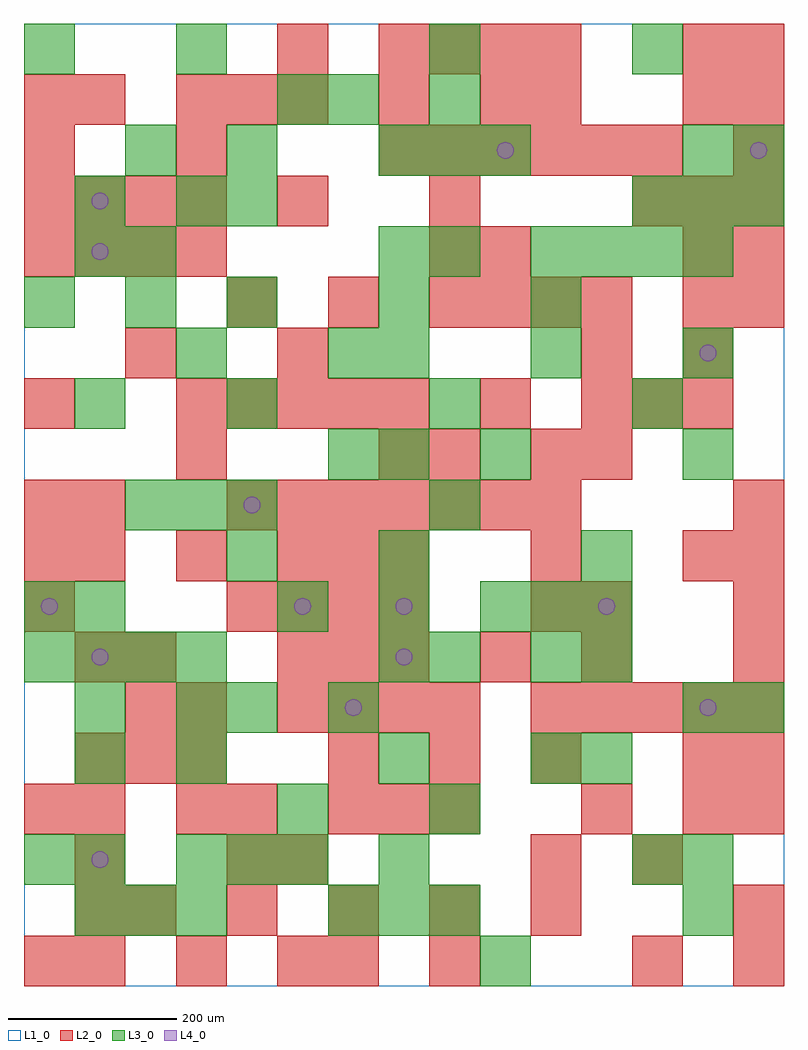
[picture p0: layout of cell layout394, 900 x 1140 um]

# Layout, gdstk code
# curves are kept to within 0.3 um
import gdstk
lib = gdstk.Library(unit=1e-6, precision=1e-09)
def R(c, l, rs):  # rectangles x0, y0, x1, y1
    for r in rs: c.add(gdstk.rectangle(r[:2], r[2:], *l))
def A(c, l, x, y, w, h, nx, ny, dx, dy):  # array of equal rectangles
    R(c, l, [(x+i*dx, y+j*dy, x+i*dx+w, y+j*dy+h) for i in range(nx) for j in range(ny)])
def P(c, l, *ps):  # polygons
    for p in ps: c.add(gdstk.Polygon(p, *l))
L1_0 = (1, 0)
L2_0 = (2, 0)
L3_0 = (3, 0)
L4_0 = (4, 0)

layout394 = lib.new_cell('layout394')
R(layout394, L1_0, [(0,0,900,1140)])
A(layout394, L2_0, 60, 0, 60, 60, 3, 2, 120, 480)
A(layout394, L2_0, 60, 60, 60, 60, 1, 3, 0, 60)
A(layout394, L2_0, 120, 60, 60, 60, 5, 1, 120, 0)
A(layout394, L2_0, 360, 180, 60, 60, 3, 1, 60, 0)
A(layout394, L2_0, 60, 240, 60, 60, 3, 1, 60, 0)
A(layout394, L2_0, 360, 240, 60, 60, 3, 1, 120, 0)
A(layout394, L2_0, 300, 300, 60, 60, 4, 1, 60, 0)
A(layout394, L2_0, 600, 300, 60, 60, 5, 1, 60, 0)
A(layout394, L2_0, 300, 360, 60, 60, 3, 1, 60, 0)
A(layout394, L2_0, 840, 360, 60, 60, 1, 4, 0, 60)
A(layout394, L2_0, 0, 420, 60, 60, 1, 3, 0, 60)
A(layout394, L2_0, 240, 420, 60, 60, 4, 1, 60, 0)
A(layout394, L2_0, 420, 480, 60, 60, 3, 1, 180, 0)
A(layout394, L2_0, 240, 540, 60, 60, 7, 1, 60, 0)
A(layout394, L2_0, 180, 660, 60, 60, 5, 1, 60, 0)
A(layout394, L2_0, 540, 660, 60, 60, 1, 3, 0, 180)
A(layout394, L2_0, 660, 660, 60, 60, 3, 1, 60, 0)
A(layout394, L2_0, 300, 720, 60, 60, 1, 3, 0, 180)
A(layout394, L2_0, 780, 720, 60, 60, 1, 3, 0, 60)
A(layout394, L2_0, 240, 780, 60, 60, 3, 1, 120, 0)
A(layout394, L2_0, 540, 780, 60, 60, 3, 1, 60, 0)
A(layout394, L2_0, 0, 840, 60, 60, 4, 2, 60, 60)
A(layout394, L2_0, 720, 900, 60, 60, 3, 1, 60, 0)
A(layout394, L2_0, 420, 960, 60, 60, 6, 1, 60, 0)
A(layout394, L2_0, 840, 960, 60, 60, 1, 3, 0, 60)
A(layout394, L2_0, 180, 1020, 60, 60, 3, 1, 60, 0)
A(layout394, L2_0, 420, 1080, 60, 60, 4, 1, 60, 0)
R(layout394, L2_0, [(0,0,60,60), (360,0,420,60), (480,0,540,60), (720,0,780,60), (840,0,900,60), (840,60,900,120), (240,120,300,180), (300,120,360,180), (600,120,660,180), (720,120,780,180), (0,180,60,240), (180,180,240,240), (240,180,300,240), (660,180,720,240), (780,180,840,240), (840,180,900,240), (780,240,840,300), (840,240,900,300), (120,300,180,360), (180,300,240,360), (60,360,120,420), (120,360,180,420), (540,360,600,420), (660,360,720,420), (600,420,660,480), (660,420,720,480), (360,480,420,540), (60,540,120,600), (180,600,240,660), (420,600,480,660), (480,600,540,660), (600,600,660,660), (660,600,720,660), (0,660,60,720), (120,720,180,780), (660,720,720,780), (840,780,900,840), (480,840,540,900), (840,840,900,900), (480,900,540,960), (0,960,60,1020), (180,960,240,1020), (0,1020,60,1080), (60,1020,120,1080), (420,1020,480,1080), (600,1020,660,1080), (780,1020,840,1080), (780,1080,840,1140)])
A(layout394, L3_0, 60, 60, 60, 60, 3, 1, 60, 0)
A(layout394, L3_0, 360, 60, 60, 60, 3, 1, 60, 0)
A(layout394, L3_0, 180, 120, 60, 60, 3, 1, 60, 0)
A(layout394, L3_0, 420, 120, 60, 60, 1, 5, 0, 120)
A(layout394, L3_0, 480, 180, 60, 60, 1, 3, 0, 180)
A(layout394, L3_0, 0, 360, 60, 60, 4, 1, 60, 0)
A(layout394, L3_0, 660, 360, 60, 60, 1, 3, 0, 60)
A(layout394, L3_0, 300, 420, 60, 60, 3, 1, 120, 0)
A(layout394, L3_0, 120, 540, 60, 60, 3, 1, 60, 0)
A(layout394, L3_0, 240, 660, 60, 60, 3, 1, 240, 0)
A(layout394, L3_0, 180, 720, 60, 60, 1, 3, 0, 180)
A(layout394, L3_0, 420, 720, 60, 60, 3, 1, 180, 0)
A(layout394, L3_0, 0, 780, 60, 60, 3, 1, 120, 0)
A(layout394, L3_0, 600, 840, 60, 60, 4, 1, 60, 0)
A(layout394, L3_0, 720, 900, 60, 60, 3, 1, 60, 0)
A(layout394, L3_0, 420, 960, 60, 60, 3, 1, 60, 0)
R(layout394, L3_0, [(540,0,600,60), (780,60,840,120), (0,120,60,180), (60,120,120,180), (720,120,780,180), (780,120,840,180), (300,180,360,240), (60,240,120,300), (180,240,240,300), (600,240,660,300), (660,240,720,300), (60,300,120,360), (180,300,240,360), (240,300,300,360), (360,300,420,360), (780,300,840,360), (840,300,900,360), (600,360,660,420), (0,420,60,480), (60,420,120,480), (600,420,660,480), (240,480,300,540), (360,600,420,660), (540,600,600,660), (780,600,840,660), (60,660,120,720), (360,720,420,780), (420,780,480,840), (600,780,660,840), (60,840,120,900), (120,840,180,900), (420,840,480,900), (480,840,540,900), (60,900,120,960), (240,900,300,960), (120,960,180,1020), (240,960,300,1020), (780,960,840,1020), (840,960,900,1020), (300,1020,360,1080), (360,1020,420,1080), (480,1020,540,1080), (0,1080,60,1140), (480,1080,540,1140), (720,1080,780,1140)])
P(layout394, L4_0, [(40,450),(39.239,453.827),(37.071,457.071),(33.827,459.239),(30,460),(26.173,459.239),(22.929,457.071),(20.761,453.827),(20,450),(20.761,446.173),(22.929,442.929),(26.173,440.761),(30,440),(33.827,440.761),(37.071,442.929),(39.239,446.173)],
  [(100,150),(99.239,153.827),(97.071,157.071),(93.827,159.239),(90,160),(86.173,159.239),(82.929,157.071),(80.761,153.827),(80,150),(80.761,146.173),(82.929,142.929),(86.173,140.761),(90,140),(93.827,140.761),(97.071,142.929),(99.239,146.173)],
  [(100,390),(99.239,393.827),(97.071,397.071),(93.827,399.239),(90,400),(86.173,399.239),(82.929,397.071),(80.761,393.827),(80,390),(80.761,386.173),(82.929,382.929),(86.173,380.761),(90,380),(93.827,380.761),(97.071,382.929),(99.239,386.173)],
  [(100,870),(99.239,873.827),(97.071,877.071),(93.827,879.239),(90,880),(86.173,879.239),(82.929,877.071),(80.761,873.827),(80,870),(80.761,866.173),(82.929,862.929),(86.173,860.761),(90,860),(93.827,860.761),(97.071,862.929),(99.239,866.173)],
  [(100,930),(99.239,933.827),(97.071,937.071),(93.827,939.239),(90,940),(86.173,939.239),(82.929,937.071),(80.761,933.827),(80,930),(80.761,926.173),(82.929,922.929),(86.173,920.761),(90,920),(93.827,920.761),(97.071,922.929),(99.239,926.173)],
  [(280,570),(279.239,573.827),(277.071,577.071),(273.827,579.239),(270,580),(266.173,579.239),(262.929,577.071),(260.761,573.827),(260,570),(260.761,566.173),(262.929,562.929),(266.173,560.761),(270,560),(273.827,560.761),(277.071,562.929),(279.239,566.173)],
  [(340,450),(339.239,453.827),(337.071,457.071),(333.827,459.239),(330,460),(326.173,459.239),(322.929,457.071),(320.761,453.827),(320,450),(320.761,446.173),(322.929,442.929),(326.173,440.761),(330,440),(333.827,440.761),(337.071,442.929),(339.239,446.173)],
  [(400,330),(399.239,333.827),(397.071,337.071),(393.827,339.239),(390,340),(386.173,339.239),(382.929,337.071),(380.761,333.827),(380,330),(380.761,326.173),(382.929,322.929),(386.173,320.761),(390,320),(393.827,320.761),(397.071,322.929),(399.239,326.173)],
  [(460,390),(459.239,393.827),(457.071,397.071),(453.827,399.239),(450,400),(446.173,399.239),(442.929,397.071),(440.761,393.827),(440,390),(440.761,386.173),(442.929,382.929),(446.173,380.761),(450,380),(453.827,380.761),(457.071,382.929),(459.239,386.173)],
  [(460,450),(459.239,453.827),(457.071,457.071),(453.827,459.239),(450,460),(446.173,459.239),(442.929,457.071),(440.761,453.827),(440,450),(440.761,446.173),(442.929,442.929),(446.173,440.761),(450,440),(453.827,440.761),(457.071,442.929),(459.239,446.173)],
  [(580,990),(579.239,993.827),(577.071,997.071),(573.827,999.239),(570,1000),(566.173,999.239),(562.929,997.071),(560.761,993.827),(560,990),(560.761,986.173),(562.929,982.929),(566.173,980.761),(570,980),(573.827,980.761),(577.071,982.929),(579.239,986.173)],
  [(700,450),(699.239,453.827),(697.071,457.071),(693.827,459.239),(690,460),(686.173,459.239),(682.929,457.071),(680.761,453.827),(680,450),(680.761,446.173),(682.929,442.929),(686.173,440.761),(690,440),(693.827,440.761),(697.071,442.929),(699.239,446.173)],
  [(820,330),(819.239,333.827),(817.071,337.071),(813.827,339.239),(810,340),(806.173,339.239),(802.929,337.071),(800.761,333.827),(800,330),(800.761,326.173),(802.929,322.929),(806.173,320.761),(810,320),(813.827,320.761),(817.071,322.929),(819.239,326.173)],
  [(820,750),(819.239,753.827),(817.071,757.071),(813.827,759.239),(810,760),(806.173,759.239),(802.929,757.071),(800.761,753.827),(800,750),(800.761,746.173),(802.929,742.929),(806.173,740.761),(810,740),(813.827,740.761),(817.071,742.929),(819.239,746.173)],
  [(880,990),(879.239,993.827),(877.071,997.071),(873.827,999.239),(870,1000),(866.173,999.239),(862.929,997.071),(860.761,993.827),(860,990),(860.761,986.173),(862.929,982.929),(866.173,980.761),(870,980),(873.827,980.761),(877.071,982.929),(879.239,986.173)])

lib.write_gds('layout394.gds')
